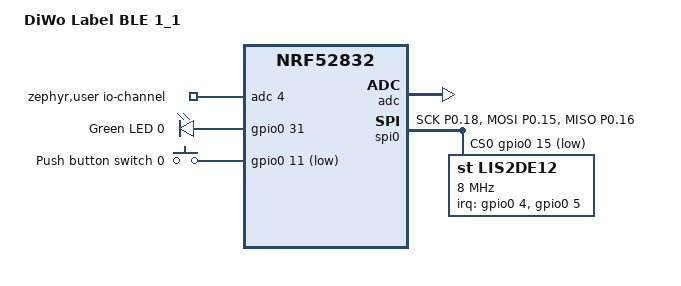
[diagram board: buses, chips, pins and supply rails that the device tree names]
// Copyright (c) 2022 Nordic Semiconductor ASA
// SPDX-License-Identifier: Apache-2.0

/dts-v1/;
#include <nordic/nrf52832_qfaa.dtsi>

/ {
	model = "DiWo Label BLE 1_1";
	compatible = "diwo,diwo-label-ble-1-1";

	zephyr,user {
		io-channels = <&adc 4>;
	};

	chosen {
		zephyr,sram = &sram0;
		zephyr,flash = &flash0;
		zephyr,code-partition = &slot0_partition;
	};

	leds {
		compatible = "gpio-leds";
		led0: led_0 {
			gpios = <&gpio0 31 GPIO_ACTIVE_HIGH>;
			label = "Green LED 0";
		};
	};
	buttons {
		compatible = "gpio-keys";
		button0: button_0 {
			gpios = <&gpio0 11 (GPIO_PULL_UP | GPIO_ACTIVE_LOW)>;
			label = "Push button switch 0";
		};
	};

	aliases {
		led0 = &led0;
		bootloader-led0 = &led0;
		mcuboot-led0 = &led0;
		watchdog0 = &wdt0;
		sw0 = &button0;
	};	
};

&pinctrl {
	uart0_default: uart0_default {
		group1 {
			psels = <NRF_PSEL( UART_TX, 0, 20 )>,
					<NRF_PSEL( UART_RX, 0, 19 )>;
		};
	};

	uart0_sleep: uart0_sleep {
		group1 {
			psels = <NRF_PSEL( UART_TX, 0, 20 )>,
					<NRF_PSEL( UART_RX, 0, 19 )>;
			low-power-enable;
		};
	};

	spi0_default: spi0_default {
		group1 {
			psels = <NRF_PSEL(SPIM_SCK, 0, 18)>,
					<NRF_PSEL(SPIM_MOSI, 0, 15)>,
					<NRF_PSEL(SPIM_MISO, 0, 16)>;
		};
	};

	spi0_sleep: spi0_sleep {
		group1 {
			psels = <NRF_PSEL(SPIM_SCK, 0, 18)>,
					<NRF_PSEL(SPIM_MOSI, 0, 15)>,
					<NRF_PSEL(SPIM_MISO, 0, 16)>;
			low-power-enable;
		};
	};
};

&adc {
	status = "okay";
};

&gpiote {
	status = "okay";
};

&gpio0 {
	status = "okay";	
};

/*
&uart0 {
	compatible = "nordic,nrf-uarte";
	status = "okay";
	current-speed = <115200>;
	pinctrl-0 = <&uart0_default>;
	pinctrl-1 = <&uart0_sleep>;
	pinctrl-names = "default", "sleep";
};
*/

&spi0 {
	compatible = "nordic,nrf-spi";
	status = "okay";
	pinctrl-0 = <&spi0_default>;
	pinctrl-1 = <&spi0_sleep>;
	pinctrl-names = "default", "sleep";
	cs-gpios = 	<&gpio0 15 GPIO_ACTIVE_LOW>;
//				<&gpio0 20 GPIO_ACTIVE_LOW>;

	lis2de12@0 {
		compatible	= "st,lis2de12";
		reg			= <0x0>;
		status		= "okay";
//		range		= 16;
//		odr			= 12;
//		bw-filt		= 2;
//		low-noise	= false;

		spi-max-frequency = <8000000>;
		irq-gpios = <&gpio0 4 0>,
					<&gpio0 5 0>;
	};
};

&flash0 {
	partitions {
		compatible = "fixed-partitions";
		#address-cells = <1>;
		#size-cells = <1>;

		boot_partition: partition@0 {
			label = "mcuboot";
			reg = <0x0 0xc000>;
		};
		slot0_partition: partition@c000 {
			label = "image-0";
			reg = <0xc000 0x32000>;
		};
		slot1_partition: partition@3e000 {
			label = "image-1";
			reg = <0x3e000 0x32000>;
		};
		scratch_partition: partition@70000 {
			label = "image-scratch";
			reg = <0x70000 0xa000>;
		};
		storage_partition: partition@7a000 {
			label = "storage";
			reg = <0x7a000 0x6000>;
		};
	};
};

